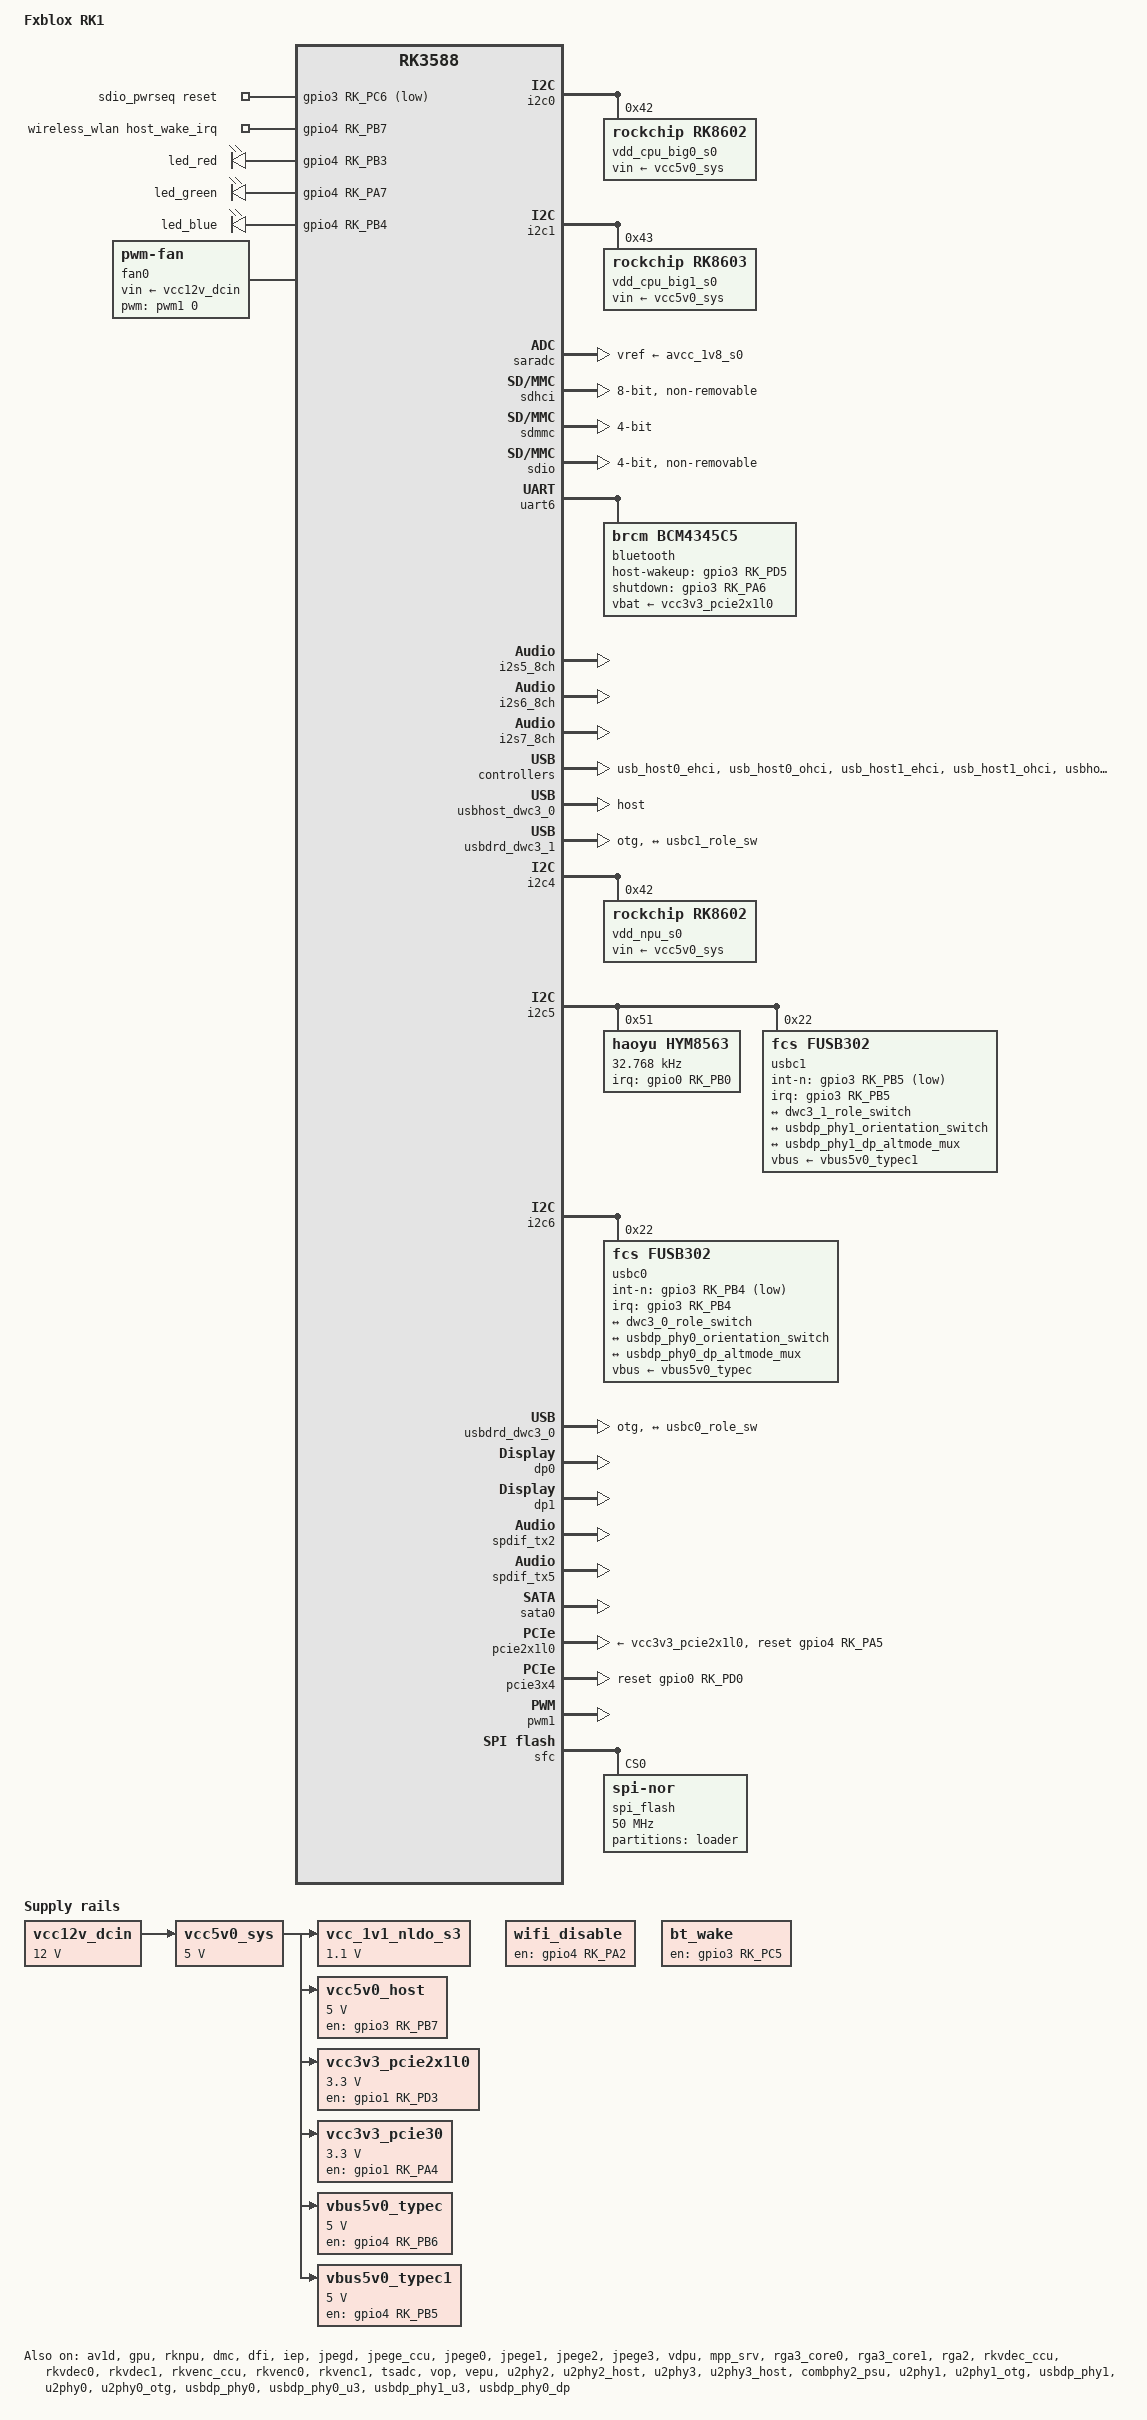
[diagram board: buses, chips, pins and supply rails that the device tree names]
// SPDX-License-Identifier: (GPL-2.0+ OR MIT)
/*
 * Copyright (c) 2022 Rockchip Electronics Co., Ltd.
 * Copyright (c) 2022 Radxa Limited
 *
 */

/dts-v1/;

#include <dt-bindings/gpio/gpio.h>
#include <dt-bindings/leds/common.h>
#include <dt-bindings/pwm/pwm.h>
#include <dt-bindings/pinctrl/rockchip.h>
#include <dt-bindings/input/rk-input.h>
#include <dt-bindings/display/drm_mipi_dsi.h>
#include <dt-bindings/display/rockchip_vop.h>
#include <dt-bindings/sensor-dev.h>
#include "dt-bindings/usb/pd.h"
#include "rk3588.dtsi"
#include "rk3588-rk806-single.dtsi"
#include "rk3588-linux.dtsi"

/ {
	model = "Fxblox RK1";
	compatible = "fxland,fxblox-rk1", "rockchip,rk3588";

	/delete-node/ chosen;

	vcc12v_dcin: vcc12v-dcin {
		compatible = "regulator-fixed";
		regulator-name = "vcc12v_dcin";
		regulator-always-on;
		regulator-boot-on;
		regulator-min-microvolt = <12000000>;
		regulator-max-microvolt = <12000000>;
	};

	vcc5v0_sys: vcc5v0-sys {
		compatible = "regulator-fixed";
		regulator-name = "vcc5v0_sys";
		regulator-always-on;
		regulator-boot-on;
		regulator-min-microvolt = <5000000>;
		regulator-max-microvolt = <5000000>;
		vin-supply = <&vcc12v_dcin>;
	};

	wifi_disable: wifi-diable-gpio-regulator {
		compatible = "regulator-fixed";
		regulator-name = "wifi_disable";
		enable-active-high;
		gpio = <&gpio4 RK_PA2 GPIO_ACTIVE_HIGH>;
		regulator-boot-on;
		regulator-always-on;
	};

	bt_wake: bt-wake-gpio-regulator {
		compatible = "regulator-fixed";
		regulator-name = "bt_wake";
		enable-active-high;
		gpio = <&gpio3 RK_PC5 GPIO_ACTIVE_HIGH>;
		regulator-boot-on;
		regulator-always-on;
	};

	sdio_pwrseq: sdio-pwrseq {
		compatible = "mmc-pwrseq-simple";
		clocks = <&hym8563>;
		clock-names = "ext_clock";
		pinctrl-names = "default";
		pinctrl-0 = <&wifi_enable_h>;
		reset-gpios = <&gpio3 RK_PC6 GPIO_ACTIVE_LOW>;
	};

	wireless_wlan: wireless-wlan {
		compatible = "wlan-platdata";
		wifi_chip_type = "ap6256";
		pinctrl-names = "default";
		pinctrl-0 = <&wifi_host_wake_irq>;
		WIFI,host_wake_irq = <&gpio4 RK_PB7 GPIO_ACTIVE_HIGH>;
		status = "okay";
	};

	vcc_1v1_nldo_s3: vcc-1v1-nldo-s3 {
		compatible = "regulator-fixed";
		regulator-name = "vcc_1v1_nldo_s3";
		regulator-always-on;
		regulator-boot-on;
		regulator-min-microvolt = <1100000>;
		regulator-max-microvolt = <1100000>;
		vin-supply = <&vcc5v0_sys>;
	};

	hdmi0_sound: hdmi0-sound {
		status = "disable";
	};

	hdmi1_sound: hdmi1-sound {
		status = "disable";

	};

	dp0_sound: dp0-sound {
		status = "okay";
		compatible = "rockchip,hdmi";
		rockchip,card-name= "rockchip,dp0";
		rockchip,mclk-fs = <512>;
		rockchip,cpu = <&spdif_tx2>;
		rockchip,codec = <&dp0 1>;
		rockchip,jack-det;
	};

	dp1_sound: dp1-sound {
		status = "okay";
		compatible = "rockchip,hdmi";
		rockchip,card-name= "rockchip,dp1";
		rockchip,mclk-fs = <512>;
		rockchip,cpu = <&spdif_tx5>;
		rockchip,codec = <&dp1 1>;
		rockchip,jack-det;
	};

	es8316_sound: es8316-sound {
		status = "disable";
	};

	vcc5v0_host: vcc5v0-host-regulator {
		compatible = "regulator-fixed";
		regulator-name = "vcc5v0_host";
		regulator-boot-on;
		regulator-always-on;
		regulator-min-microvolt = <5000000>;
		regulator-max-microvolt = <5000000>;
		enable-active-high;
		gpio = <&gpio3 RK_PB7 GPIO_ACTIVE_HIGH>;
		pinctrl-names = "default";
		pinctrl-0 = <&vcc5v0_host_en>;
		vin-supply = <&vcc5v0_sys>;
	};

	vcc3v3_pcie2x1l0: vcc3v3-pcie2x1l0 {
		compatible = "regulator-fixed";
		regulator-name = "vcc3v3_pcie2x1l0";
		regulator-min-microvolt = <3300000>;
		regulator-max-microvolt = <3300000>;
		enable-active-high;
		regulator-boot-on;
		regulator-always-on;
		gpios = <&gpio1 RK_PD3 GPIO_ACTIVE_HIGH>;
		startup-delay-us = <50000>;
		vin-supply = <&vcc5v0_sys>;
	};

	// pcie3x4
	vcc3v3_pcie30: vcc3v3-pcie30 {
		compatible = "regulator-fixed";
		regulator-name = "vcc3v3_pcie30";
		regulator-min-microvolt = <3300000>;
		regulator-max-microvolt = <3300000>;
		enable-active-high;
		regulator-always-on;
		gpios = <&gpio1 RK_PA4 GPIO_ACTIVE_HIGH>;
		startup-delay-us = <5000>;
		vin-supply = <&vcc5v0_sys>;
	};

	vbus5v0_typec: vbus5v0-typec {
		compatible = "regulator-fixed";
		regulator-name = "vbus5v0_typec";
		regulator-min-microvolt = <5000000>;
		regulator-max-microvolt = <5000000>;
		enable-active-high;
		gpio = <&gpio4 RK_PB6 GPIO_ACTIVE_HIGH>;
		vin-supply = <&vcc5v0_sys>;
		pinctrl-names = "default";
		pinctrl-0 = <&typec5v_pwren>;
	};

	vbus5v0_typec1: vbus5v0-typec1 {
		compatible = "regulator-fixed";
		regulator-name = "vbus5v0_typec1";
		regulator-min-microvolt = <5000000>;
		regulator-max-microvolt = <5000000>;
		enable-active-high;
		gpio = <&gpio4 RK_PB5 GPIO_ACTIVE_HIGH>;
		vin-supply = <&vcc5v0_sys>;
		pinctrl-names = "default";
		pinctrl-0 = <&typec1_5v_pwren>;
	};

	gpio-leds {
		compatible = "gpio-leds";
		pinctrl-names = "default";

		led_red {
			gpios = <&gpio4 RK_PB3 GPIO_ACTIVE_HIGH>;
			default-state = "off";
		};
		
		led_green {
			gpios = <&gpio4 RK_PA7 GPIO_ACTIVE_HIGH>;
			default-state = "off";
		};

		led_blue {
			gpios = <&gpio4 RK_PB4 GPIO_ACTIVE_HIGH>;
			default-state = "off";
		};		
	};

	fan0: pwm-fan {
		compatible = "pwm-fan";
		#cooling-cells = <2>;
		vin-supply = <&vcc12v_dcin>;
		cooling-levels = <90 110 130 150 170 190 210 230 255>;
		pwms = <&pwm1 0 10000 0>;
	};
};

&av1d {
	status = "okay";
};

&av1d_mmu {
	status = "okay";
};

&cpu_l0 {
	cpu-supply = <&vdd_cpu_lit_s0>;
	mem-supply = <&vdd_cpu_lit_mem_s0>;
};

&cpu_b0 {
	cpu-supply = <&vdd_cpu_big0_s0>;
	mem-supply = <&vdd_cpu_big0_mem_s0>;
};

&cpu_b2 {
	cpu-supply = <&vdd_cpu_big1_s0>;
	mem-supply = <&vdd_cpu_big1_mem_s0>;
};

&gpu {
	mali-supply = <&vdd_gpu_s0>;
	mem-supply = <&vdd_gpu_mem_s0>;
	status = "okay";
};

&rknpu {
	rknpu-supply = <&vdd_npu_s0>;
	mem-supply = <&vdd_npu_mem_s0>;
	status = "okay";
};

&rknpu_mmu {
	status = "okay";
};

&i2c0 {
	status = "okay";
	pinctrl-names = "default";
	pinctrl-0 = <&i2c0m2_xfer>;

	vdd_cpu_big0_s0: vdd_cpu_big0_mem_s0: rk8602@42 {
		compatible = "rockchip,rk8602";
		reg = <0x42>;
		vin-supply = <&vcc5v0_sys>;
		regulator-compatible = "rk860x-reg";
		regulator-name = "vdd_cpu_big0_s0";
		regulator-min-microvolt = <550000>;
		regulator-max-microvolt = <1050000>;
		regulator-ramp-delay = <2300>;
		rockchip,suspend-voltage-selector = <1>;
		regulator-boot-on;
		regulator-always-on;
		regulator-state-mem {
			regulator-off-in-suspend;
		};
	};
};

&dmc {
	center-supply = <&vdd_ddr_s0>;
	mem-supply = <&vdd_log_s0>;
	status = "okay";
};

&dfi {
	status = "okay";
};

&i2c1 {
	status = "okay";
	pinctrl-names = "default";
	pinctrl-0 = <&i2c1m2_xfer>;

	vdd_cpu_big1_s0: vdd_cpu_big1_mem_s0: rk8603@43 {
		compatible = "rockchip,rk8603";
		reg = <0x43>;
		vin-supply = <&vcc5v0_sys>;
		regulator-compatible = "rk860x-reg";
		regulator-name = "vdd_cpu_big1_s0";
		regulator-min-microvolt = <550000>;
		regulator-max-microvolt = <1050000>;
		regulator-ramp-delay = <2300>;
		rockchip,suspend-voltage-selector = <1>;
		regulator-boot-on;
		regulator-always-on;
		regulator-state-mem {
			regulator-off-in-suspend;
		};
	};

};

&iep {
	status = "okay";
};

&iep_mmu {
	status = "okay";
};

&jpegd {
	status = "okay";
};

&jpegd_mmu {
	status = "okay";
};

&jpege_ccu {
	status = "okay";
};

&jpege0 {
	status = "okay";
};

&jpege0_mmu {
	status = "okay";
};

&jpege1 {
	status = "okay";
};

&jpege1_mmu {
	status = "okay";
};

&jpege2 {
	status = "okay";
};

&jpege2_mmu {
	status = "okay";
};

&jpege3 {
	status = "okay";
};

&jpege3_mmu {
	status = "okay";
};

&vdpu {
	status = "okay";
};

&vdpu_mmu {
	status = "okay";
};

&mpp_srv {
	status = "okay";
};

&rga3_core0 {
	status = "okay";
};

&rga3_0_mmu {
	status = "okay";
};

&rga3_core1 {
	status = "okay";
};

&rga3_1_mmu {
	status = "okay";
};

&rga2 {
	status = "okay";
};

&rkvdec_ccu {
	status = "okay";
};

&rkvdec0 {
	status = "okay";
};

&rkvdec0_mmu {
	status = "okay";
};

&rkvdec1 {
	status = "okay";
};

&rkvdec1_mmu {
	status = "okay";
};

&rkvenc_ccu {
	status = "okay";
};

&rkvenc0 {
	status = "okay";
};

&rkvenc0_mmu {
	status = "okay";
};

&rkvenc1 {
	status = "okay";
};

&rkvenc1_mmu {
	status = "okay";
};

&saradc {
	status = "okay";
	vref-supply = <&avcc_1v8_s0>;
};

&sdhci {
	bus-width = <8>;
	no-sdio;
	no-sd;
	non-removable;
	max-frequency = <200000000>;
	mmc-hs400-1_8v;
	mmc-hs400-enhanced-strobe;
	status = "okay";
};

&sdmmc {
	max-frequency = <150000000>;
	no-sdio;
	no-mmc;
	bus-width = <4>;
	cap-mmc-highspeed;
	cap-sd-highspeed;
	disable-wp;
	sd-uhs-sdr104;
	//vmmc-supply = <&vcc_3v3_sd_s3>;
	vqmmc-supply = <&vccio_sd_s0>;
	status = "okay";
};

&sdio {
	max-frequency = <150000000>;
	supports-sdio;
	bus-width = <4>;
	disable-wp;
	cap-sd-highspeed;
	cap-sdio-irq;
	keep-power-in-suspend;
	mmc-pwrseq = <&sdio_pwrseq>;
	non-removable;
	num-slots = <1>;
	pinctrl-names = "default";
	pinctrl-0 = <&sdiom0_pins>;
	sd-uhs-sdr104;
	status = "okay";
};

&soc_thermal {
	polling-delay = <1000>;
	polling-delay-passive = <2000>;
	trips {
		trip0: trip-point@0 {
			temperature = <45000>;
			hysteresis = <5000>;
			type = "active";
		};
		trip1: trip-point@1 {
			temperature = <50000>;
			hysteresis = <5000>;
			type = "active";
		};
		trip2: trip-point@2 {
			temperature = <55000>;
			hysteresis = <5000>;
			type = "active";
		};
		trip3: trip-point@3 {
			temperature = <60000>;
			hysteresis = <5000>;
			type = "active";
		};
		trip4: trip-point@4 {
			temperature = <65000>;
			hysteresis = <5000>;
			type = "active";
		};
		trip5: trip-point@5 {
			temperature = <70000>;
			hysteresis = <5000>;
			type = "active";
		};
		trip6: trip-point@6 {
			temperature = <75000>;
			hysteresis = <5000>;
			type = "active";
		};
		pcritical: trip-point@7 {
			temperature = <80000>;
			hysteresis = <1000>;
			type = "active";
		};
	};
	cooling-maps {
		map0 {
			trip = <&trip0>;
			cooling-device = <&fan0 0 1>;
			contribution = <1024>;
		};
		map1 {
			trip = <&trip1>;
			cooling-device = <&fan0 1 2>;
			contribution = <1024>;
		};
		map2 {
			trip = <&trip2>;
			cooling-device = <&fan0 2 3>;
			contribution = <1024>;
		};
		map3 {
			trip = <&trip3>;
			cooling-device = <&fan0 3 4>;
			contribution = <1024>;
		};
		map4 {
			trip = <&trip4>;
			cooling-device = <&fan0 4 5>;
			contribution = <1024>;
		};
		map5 {
			trip = <&trip5>;
			cooling-device = <&fan0 5 6>;
			contribution = <1024>;
		};
		map6 {
			trip = <&trip6>;
			cooling-device = <&fan0 6 7>;
			contribution = <1024>;
		};
		map7 {
			trip = <&pcritical>;
			cooling-device = <&fan0 7 8>;
			contribution = <1024>;
		};
	};
};

&uart6 {
	pinctrl-names = "default";
	pinctrl-0 = <&uart6m1_xfer &uart6m1_ctsn &uart6m1_rtsn>;
	status = "okay";

	bluetooth {
		compatible = "brcm,bcm4345c5";
		clocks = <&hym8563>;
		clock-names = "ext_clock";
		host-wakeup-gpios = <&gpio3 RK_PD5 GPIO_ACTIVE_HIGH>;
		shutdown-gpios = <&gpio3 RK_PA6 GPIO_ACTIVE_HIGH>;
		max-speed = <1500000>;
		pinctrl-names = "default";
		pinctrl-0 = <&bt_host_wake_l &bt_wake_l &bt_enable_h>;
		vbat-supply = <&vcc3v3_pcie2x1l0>;
	};
};

&tsadc {
	status = "okay";
};

&display_subsystem {
	clocks = <&hdptxphy_hdmi_clk0>, <&hdptxphy_hdmi_clk1>;
	clock-names = "hdmi0_phy_pll", "hdmi1_phy_pll";

	route {
			route_dp0: route-dp0 {
				status = "ok";
				logo,uboot = "logo.bmp";
				logo,kernel = "logo_kernel.bmp";
				logo,mode = "center";
				charge_logo,mode = "center";
				connect = <&vp0_out_dp0>;				
			};

			route_dp1: route-dp1 {
				status = "ok";
				logo,uboot = "logo.bmp";
				logo,kernel = "logo_kernel.bmp";
				logo,mode = "center";
				charge_logo,mode = "center";
				connect = <&vp2_out_dp1>;				
			};			
	};
};

&i2s5_8ch {
	status = "okay";
};

&i2s6_8ch {
	status = "okay";
};

&i2s7_8ch {
	status = "okay";
};

&vop {
	status = "okay";
};

&vop_mmu {
	status = "okay";
};

&vepu {
	status = "okay";
};

/* vp0 & vp1 splice for 8K output */
&vp0 {
	rockchip,plane-mask = <(1 << ROCKCHIP_VOP2_CLUSTER0 | 1 << ROCKCHIP_VOP2_ESMART0)>;
	rockchip,primary-plane = <ROCKCHIP_VOP2_CLUSTER0>;
	cursor-win-id = <ROCKCHIP_VOP2_ESMART0>;
};

&vp1 {
	rockchip,plane-mask = <(1 << ROCKCHIP_VOP2_CLUSTER1 | 1 << ROCKCHIP_VOP2_ESMART1)>;
	rockchip,primary-plane = <ROCKCHIP_VOP2_CLUSTER1>;
	cursor-win-id = <ROCKCHIP_VOP2_ESMART1>;
};

&vp2 {
	rockchip,plane-mask = <(1 << ROCKCHIP_VOP2_CLUSTER2 | 1 << ROCKCHIP_VOP2_ESMART2)>;
	rockchip,primary-plane = <ROCKCHIP_VOP2_CLUSTER2>;
	cursor-win-id = <ROCKCHIP_VOP2_ESMART2>;
};

&vp3 {
	rockchip,plane-mask = <(1 << ROCKCHIP_VOP2_CLUSTER3 | 1 << ROCKCHIP_VOP2_ESMART3)>;
	rockchip,primary-plane = <ROCKCHIP_VOP2_CLUSTER3>;
	cursor-win-id = <ROCKCHIP_VOP2_ESMART3>;
};

&u2phy2 {
	status = "okay";
};

&u2phy2_host {
	status = "okay";
};

&usb_host0_ehci {
	status = "okay";
};

&usb_host0_ohci {
	status = "okay";
};

&usb_host1_ehci {
	status = "okay";
};

&usb_host1_ohci {
	status = "okay";
};



&u2phy3 {
	status = "okay";
};
&u2phy3_host {
	status = "okay";
	phy-supply = <&vcc5v0_host>;
};
&combphy2_psu {
	status = "okay";
};
&usbhost3_0 {
	status = "okay";
};
&usbhost_dwc3_0 {
	dr_mode = "host";
	status = "okay";
};


&u2phy1 {
	status = "okay";
};

&u2phy1_otg {
	status = "okay";
};

&usbdrd3_1{
	status = "okay";
};

&usbdrd_dwc3_1{
	status = "okay";
};

&usbdp_phy1 {
	status = "okay";
};

&i2c4 {
	status = "okay";
	pinctrl-names = "default";
	pinctrl-0 = <&i2c4m2_xfer>;

	vdd_npu_s0: vdd_npu_mem_s0: rk8602@42 {
		compatible = "rockchip,rk8602";
		reg = <0x42>;
		vin-supply = <&vcc5v0_sys>;
		regulator-compatible = "rk860x-reg";
		regulator-name = "vdd_npu_s0";
		regulator-min-microvolt = <550000>;
		regulator-max-microvolt = <950000>;
		regulator-ramp-delay = <2300>;
		rockchip,suspend-voltage-selector = <1>;
		regulator-boot-on;
		regulator-always-on;
		regulator-state-mem {
			regulator-off-in-suspend;
		};
	};	
};

&i2c5 {
	status = "okay";
	pinctrl-names = "default";
	pinctrl-0 = <&i2c5m0_xfer>;

	hym8563: hym8563@51 {
		compatible = "haoyu,hym8563";
		reg = <0x51>;
		#clock-cells = <0>;
		clock-frequency = <32768>;
		clock-output-names = "hym8563";
		pinctrl-names = "default";
		pinctrl-0 = <&rtc_int>;
		interrupt-parent = <&gpio0>;
		interrupts = <RK_PB0 IRQ_TYPE_LEVEL_LOW>;
	};

	usbc1: fusb302@22 {
		compatible = "fcs,fusb302";
		reg = <0x22>;
		interrupt-parent = <&gpio3>;
		interrupts = <RK_PB5 IRQ_TYPE_LEVEL_LOW>;
		int-n-gpios = <&gpio3 RK_PB5 GPIO_ACTIVE_LOW>;
		pinctrl-names = "default";
		pinctrl-0 = <&usbc1_int>;
		vbus-supply = <&vbus5v0_typec1>;
		status = "okay";

		ports {
			#address-cells = <1>;
			#size-cells = <0>;

			port@0 {
				reg = <0>;
				usbc1_role_sw: endpoint@0 {
					remote-endpoint = <&dwc3_1_role_switch>;
				};
			};
		};

		usb_con1: connector {
			compatible = "usb-c-connector";
			label = "USB-C";
			data-role = "dual";
			power-role = "dual";
			try-power-role = "sink";
			op-sink-microwatt = <1000000>;
            sink-pdos =
                <PDO_FIXED(5000, 3000, PDO_FIXED_USB_COMM)>;
            source-pdos =
                <PDO_FIXED(5000, 3000, PDO_FIXED_USB_COMM)>;
			
			altmodes {
				#address-cells = <1>;
				#size-cells = <0>;

				altmode@0 {
					reg = <0>;
					svid = <0xff01>;
					vdo = <0xffffffff>;
				};
			};

			ports {
				#address-cells = <1>;
				#size-cells = <0>;

				port@0 {
					reg = <0>;
					usbc1_orien_sw: endpoint {
						remote-endpoint = <&usbdp_phy1_orientation_switch>;
					};
				};

				port@1 {
					reg = <1>;
					dp1_altmode_mux: endpoint {
						remote-endpoint = <&usbdp_phy1_dp_altmode_mux>;
					};
				};
			};
		};
	};
};

&i2c6 {
	status = "okay";
	pinctrl-names = "default";
	pinctrl-0 = <&i2c6m3_xfer>;

	usbc0: fusb302@22 {
		compatible = "fcs,fusb302";
		reg = <0x22>;
		interrupt-parent = <&gpio3>;
		interrupts = <RK_PB4 IRQ_TYPE_LEVEL_LOW>;
		int-n-gpios = <&gpio3 RK_PB4 GPIO_ACTIVE_LOW>;
		pinctrl-names = "default";
		pinctrl-0 = <&usbc0_int>;
		vbus-supply = <&vbus5v0_typec>;
		status = "okay";

		ports {
			#address-cells = <1>;
			#size-cells = <0>;

			port@0 {
				reg = <0>;
				usbc0_role_sw: endpoint@0 {
					remote-endpoint = <&dwc3_0_role_switch>;
				};
			};
		};

		usb_con: connector {
			compatible = "usb-c-connector";
			label = "USB-C";
			data-role = "dual";
			power-role = "dual";
			try-power-role = "sink";
			op-sink-microwatt = <1000000>;
            sink-pdos =
                <PDO_FIXED(5000, 3000, PDO_FIXED_USB_COMM)>;
            source-pdos =
                <PDO_FIXED(5000, 3000, PDO_FIXED_USB_COMM)>;
			
			altmodes {
				#address-cells = <1>;
				#size-cells = <0>;

				altmode@0 {
					reg = <0>;
					svid = <0xff01>;
					vdo = <0xffffffff>;
				};
			};

			ports {
				#address-cells = <1>;
				#size-cells = <0>;

				port@0 {
					reg = <0>;
					usbc0_orien_sw: endpoint {
						remote-endpoint = <&usbdp_phy0_orientation_switch>;
					};
				};

				port@1 {
					reg = <1>;
					dp_altmode_mux: endpoint {
						remote-endpoint = <&usbdp_phy0_dp_altmode_mux>;
					};
				};
			};
		};
	};
};

&u2phy0 {
	status = "okay";
};

&u2phy0_otg {
	rockchip,typec-vbus-det;
	status = "okay";
};

&usbdrd3_0 {
	status = "okay";
};

&usbdrd_dwc3_0 {
	status = "okay";
	dr_mode = "otg";
	usb-role-switch;
	port {
		#address-cells = <1>;
		#size-cells = <0>;
		dwc3_0_role_switch: endpoint@0 {
			reg = <0>;
			remote-endpoint = <&usbc0_role_sw>;
		};
	};
};

&usbdrd_dwc3_1 {
	status = "okay";
	dr_mode = "otg";
	usb-role-switch;
	port {
		#address-cells = <1>;
		#size-cells = <0>;
		dwc3_1_role_switch: endpoint@0 {
			reg = <0>;
			remote-endpoint = <&usbc1_role_sw>;
		};
	};
};

&usbdp_phy0 {
	status = "okay";
	orientation-switch;
	rockchip,dp-lane-mux = <0 1 2 3 >;
	svid = <0xff01>;
	sbu1-dc-gpios = <&gpio4 RK_PB2 GPIO_ACTIVE_HIGH>;
	sbu2-dc-gpios = <&gpio4 RK_PA6 GPIO_ACTIVE_HIGH>;

	port {
		#address-cells = <1>;
		#size-cells = <0>;
		usbdp_phy0_orientation_switch: endpoint@0 {
			reg = <0>;
			remote-endpoint = <&usbc0_orien_sw>;
		};

		usbdp_phy0_dp_altmode_mux: endpoint@1 {
			reg = <1>;
			remote-endpoint = <&dp_altmode_mux>;
		};
	};
};

&usbdp_phy1 {
	status = "okay";
	orientation-switch;
	rockchip,dp-lane-mux = <0 1 2 3 >;
	svid = <0xff01>;
	sbu1-dc-gpios = <&gpio4 RK_PC1 GPIO_ACTIVE_HIGH>;
	sbu2-dc-gpios = <&gpio4 RK_PC0 GPIO_ACTIVE_HIGH>;

	port {
		#address-cells = <1>;
		#size-cells = <0>;
		usbdp_phy1_orientation_switch: endpoint@0 {
			reg = <0>;
			remote-endpoint = <&usbc1_orien_sw>;
		};

		usbdp_phy1_dp_altmode_mux: endpoint@1 {
			reg = <1>;
			remote-endpoint = <&dp1_altmode_mux>;
		};
	};
};

&usbdp_phy0_u3 {
	status = "okay";
};

&usbdp_phy1_u3 {
	status = "okay";
};

&usbdp_phy0_dp {
	status = "okay";
};

&usbdp_phy1_dp {
	status = "okay";
};

&dp0 {
	status = "okay";
};

&dp1 {
	status = "okay";
};

&dp0_in_vp0 {
	status = "okay";
};

&dp1_in_vp2 {
	status = "okay";
};

&route_dp0 {
	status = "okay";
	connect = <&vp0_out_dp0>;
};

&route_dp1 {
	status = "okay";
	connect = <&vp2_out_dp1>;
};

&spdif_tx2 {
	status = "okay";
};

&spdif_tx5 {
	status = "okay";
};

// sata0
&sata0 {
	status = "okay";
};
&combphy0_ps {
	status = "okay";
};
&pcie2x1l2 {
	status = "disable";
};
// sata0 end

&pcie2x1l0 {
	reset-gpios = <&gpio4 RK_PA5 GPIO_ACTIVE_HIGH>;
	vpcie3v3-supply = <&vcc3v3_pcie2x1l0>;
	status = "okay";
};

&combphy1_ps {
	status = "okay";
};

// pcie3x4
&pcie3x4 {
	reset-gpios = <&gpio0 RK_PD0 GPIO_ACTIVE_HIGH>;
	//vpcie3v3-supply = <&vcc3v3_pcie30>;
	status = "okay";
};

&pcie30phy {
	status = "okay";
};
// pcie3x4


&pwm1 {
	pinctrl-names = "active";
	pinctrl-0 = <&pwm1m0_pins>;
	status = "okay";
};

&sfc {
	status = "okay";
	max-freq = <50000000>;
	#address-cells = <1>;
	#size-cells = <0>;
	pinctrl-names = "default";
	pinctrl-0 = <&fspim2_pins>;

	spi_flash: spi-flash@0 {
		#address-cells = <1>;
		#size-cells = <0>;
		compatible = "jedec,spi-nor";
		reg = <0x0>;
		spi-max-frequency = <50000000>;
		spi-tx-bus-width = <1>;
		spi-rx-bus-width = <4>;
		status = "okay";

		partitions {
			compatible = "fixed-partitions";
			#address-cells = <1>;
			#size-cells = <1>;

			loader@0 {
				label = "loader";
				reg = <0x0 0x1000000>;
			};
		};
	};
};

&rockchip_suspend {
	compatible = "rockchip,pm-rk3588";
	status = "okay";
	rockchip,sleep-debug-en = <1>;
	rockchip,sleep-mode-config = <
		(0
		| RKPM_SLP_ARMOFF_DDRPD
		)
	>;
	rockchip,wakeup-config = <
		(0
		| RKPM_GPIO_WKUP_EN
		| RKPM_USB_WKUP_EN
		)
	>;
};

&avdd_0v75_s0 {
	regulator-state-mem {
		regulator-on-in-suspend;
		regulator-suspend-microvolt = <837500>;
	};
};

&avcc_1v8_s0 {
	regulator-state-mem {
		regulator-on-in-suspend;
		regulator-suspend-microvolt = <1800000>;
	};
};

&vcc_1v8_s0 {
	regulator-state-mem {
		regulator-on-in-suspend;
		regulator-suspend-microvolt = <1800000>;
	};
};

&vcc_3v3_s0 {
	regulator-state-mem {
		regulator-on-in-suspend;
		regulator-suspend-microvolt = <3300000>;
	};
};

&vdd_log_s0 {
	regulator-state-mem {
		regulator-on-in-suspend;
		regulator-suspend-microvolt = <750000>;
	};
};

&vdd_ddr_pll_s0 {
	regulator-state-mem {
		regulator-on-in-suspend;
		regulator-suspend-microvolt = <850000>;
	};
};

&pinctrl {
	usb {
		vcc5v0_host_en: vcc5v0-host-en {
			rockchip,pins = <3 RK_PB7 RK_FUNC_GPIO &pcfg_pull_none>;
		};

		vcc5v0_otg_en: vcc5v0-otg-en {
			rockchip,pins = <3 RK_PD1 RK_FUNC_GPIO &pcfg_pull_none>;
		};
	};

	usb-typec {
		usbc0_int: usbc0-int {
			rockchip,pins = <3 RK_PB4 RK_FUNC_GPIO &pcfg_pull_up>;
		};

		typec5v_pwren: typec5v-pwren {
			rockchip,pins = <4 RK_PB6 RK_FUNC_GPIO &pcfg_pull_none>;
		};
	};

	usb-typec1 {
		usbc1_int: usbc1-int {
			rockchip,pins = <3 RK_PB5 RK_FUNC_GPIO &pcfg_pull_up>;
		};

		typec1_5v_pwren: typec1_5v-pwren {
			rockchip,pins = <4 RK_PB5 RK_FUNC_GPIO &pcfg_pull_none>;
		};
	};	

	hym8563 {
		rtc_int: rtc-int {
			rockchip,pins = <0 RK_PB0 RK_FUNC_GPIO &pcfg_pull_none>;
		};
	};



	sdio-pwrseq {
		wifi_enable_h: wifi-enable-h {
			rockchip,pins = <3 RK_PC6 RK_FUNC_GPIO &pcfg_pull_none>;
		};
	};

	wireless-wlan {
		wifi_host_wake_irq: wifi-host-wake-irq {
			rockchip,pins = <4 RK_PB7 RK_FUNC_GPIO &pcfg_pull_down>;
		};
	};

	bt {
		bt_enable_h: bt-enable-h {
			rockchip,pins = <3 RK_PA6 RK_FUNC_GPIO &pcfg_pull_none>;
		};

		bt_host_wake_l: bt-host-wake-l {
			rockchip,pins = <2 RK_PD5 RK_FUNC_GPIO &pcfg_pull_none>;
		};

		bt_wake_l: bt-wake-l {
			rockchip,pins = <3 RK_PD5 RK_FUNC_GPIO &pcfg_pull_none>;
		};
	};

	sdmmc {
		sd_s0_pwr: sd-s0-pwr {
			rockchip,pins = <0 RK_PB7 RK_FUNC_GPIO &pcfg_pull_up>;
		};
	};
};

